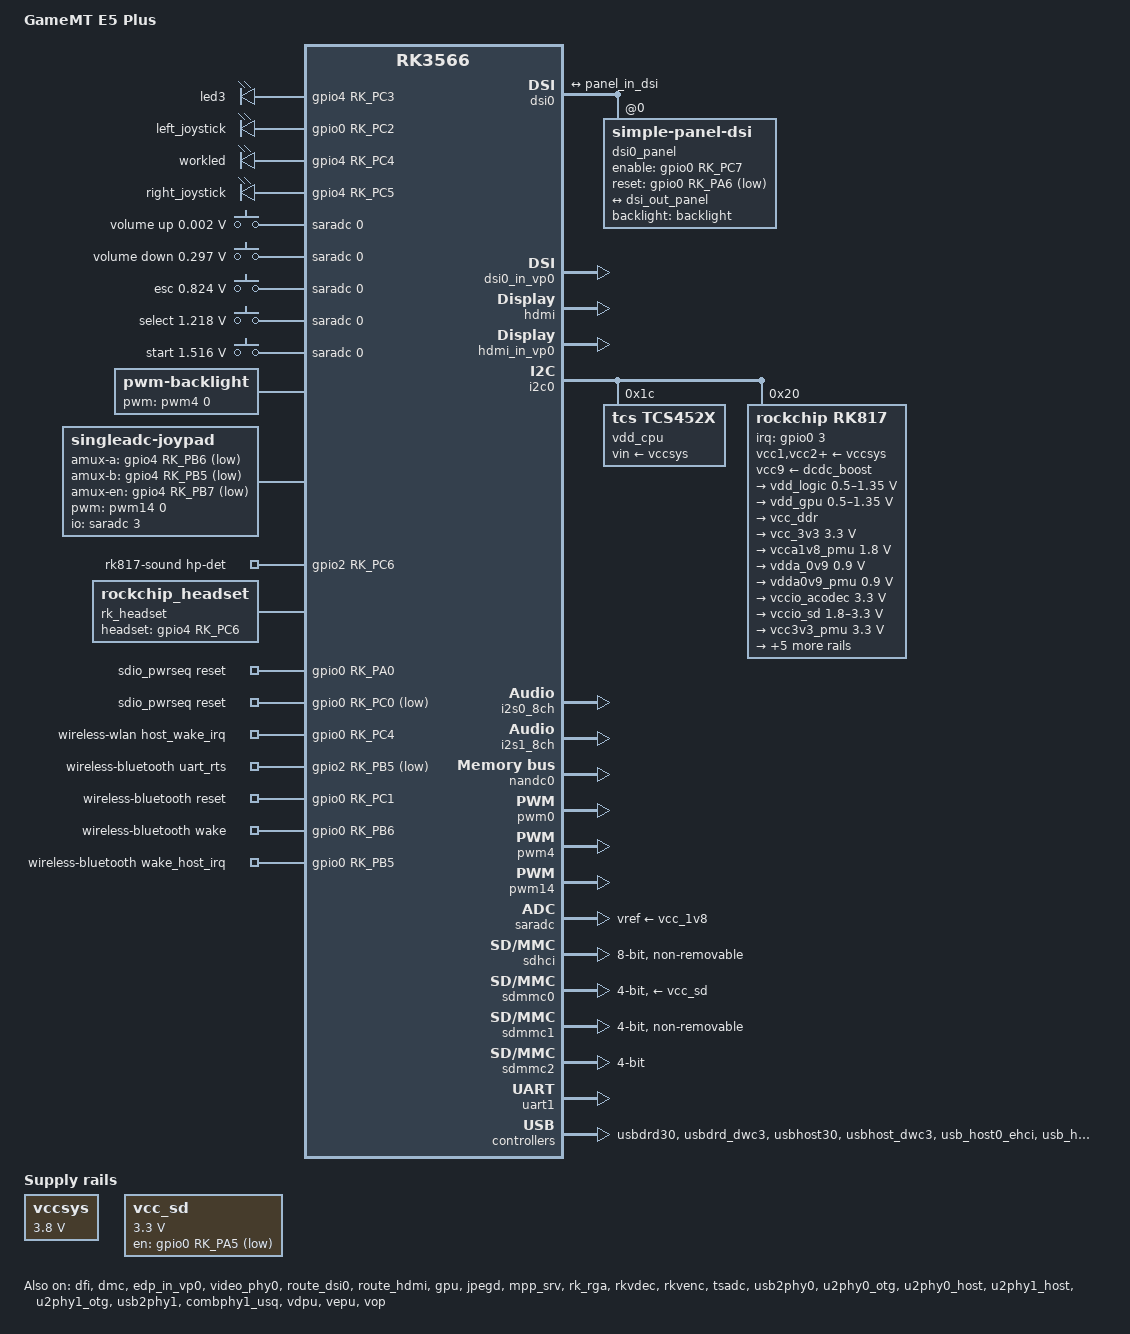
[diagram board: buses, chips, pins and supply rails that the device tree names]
// SPDX-License-Identifier: (GPL-2.0+ OR MIT)
/*
 * Copyright (c) 2020 Rockchip Electronics Co., Ltd.
 *
 */

/dts-v1/;

#include <dt-bindings/gpio/gpio.h>
#include <dt-bindings/pinctrl/rockchip.h>
#include <dt-bindings/input/rk-input.h>
#include <dt-bindings/sensor-dev.h>
#include <dt-bindings/display/drm_mipi_dsi.h>
#include <dt-bindings/display/rockchip_vop.h>
#include "rk3566.dtsi"
#include "rk3568-android.dtsi"
//#include "lcd/lcd_H546TAN01_720x1280_mipi_dsi0.dtsi"
//#include "lcd/lcd_axs1832_auo55_720x1280_mipi_dsi0.dtsi"
//#include "lcd/lcd_HX8394F_720x1280_mipi_dsi0.dtsi"
/ {
	model = "GameMT E5 Plus";
	compatible = "rockchip,rk3566-rk817-tablet", "rockchip,rk3566";

	leds: gpio-leds {
		compatible = "gpio-leds";
		pinctrl-names = "default";
		pinctrl-0 =<&leds_gpio>;

		led3 {
			gpios = <&gpio4 RK_PC3 GPIO_ACTIVE_HIGH>;
			default-state = "on";
		};
		left_joystick {
			gpios = <&gpio0 RK_PC2 GPIO_ACTIVE_HIGH>;
			default-state = "on";
		};		
		workled {
			gpios = <&gpio4 RK_PC4 GPIO_ACTIVE_HIGH>;
			default-state = "on";
		};
		right_joystick {
			gpios = <&gpio4 RK_PC5 GPIO_ACTIVE_HIGH>;
			default-state = "on";
		};
		/*motor {
			gpios = <&gpio3 RK_PC4 GPIO_ACTIVE_HIGH>;
			default-state = "off";
		};*/
	};

	adc_keys: adc-keys {
		compatible = "adc-keys";
		status = "okay";
		io-channels = <&saradc 0>;
		io-channel-names = "buttons";
		keyup-threshold-microvolt = <1800000>;
		poll-interval = <100>;

		vol-up-key {
			label = "volume up";
			linux,code = <KEY_VOLUMEUP>;
			press-threshold-microvolt = <1750>;
		};

		vol-down-key {
			label = "volume down";
			linux,code = <KEY_VOLUMEDOWN>;
			press-threshold-microvolt = <297500>;
		};

		esc-key {
			linux,code = <KEY_ESC>;
			label = "esc";
			press-threshold-microvolt = <824000>;
		};

		select-key {
			linux,code = <KEY_RIGHTSHIFT>;
			label = "select";
			press-threshold-microvolt = <1218000>;
		};

		start-key {
			linux,code = <KEY_ENTER>;
			label = "start";
			press-threshold-microvolt = <1516000>;
		};

	};

	backlight: backlight {
		compatible = "pwm-backlight";
		pwms = <&pwm4 0 25000 0>;
		brightness-levels = <
			  0  20  20  21  21  22  22  23
			 23  24  24  25  25  26  26  27
			 27  28  28  29  29  30  30  31
			 31  32  32  33  33  34  34  35
			 35  36  36  37  37  38  38  39
			 40  41  42  43  44  45  46  47
			 48  49  50  50  51  52  53  54
			 55  55  56  57  58  59  60  61
			 62  63  64  64  65  65  66  67
			 68  69  70  71  71  72  73  74
			 75  76  77  78  79  79  80  81
			 82  83  84  85  86  86  87  88
			 89  90  91  92  93  94  94  95
			 96  97  98  99 100 101 101 102
			103 104 105 106 107 107 108 109
			110 111 112 113 114 115 115 116
			117 118 119 120 121 122 123 123
			124 125 126 127 128 129 130 130
			131 132 133 134 135 136 136 137
			138 139 140 141 142 143 143 144
			145 146 147 147 148 149 150 151
			152 153 154 155 156 156 157 158
			159 157 158 159 160 161 162 162
			163 164 165 166 167 168 169 169
			170 171 172 173 174 175 175 176
			177 178 179 180 181 182 182 183
			184 185 186 187 188 189 190 190
			191 192 193 194 195 196 197 197
			198 199 200 201 202 203 204 204
			205 206 207 208 209 209 210 211
			212 213 213 214 214 215 215 216
			216 217 217 218 218 219 219 220
		>;
		default-brightness-level = <200>;
	};

	charge-animation {
		compatible = "rockchip,uboot-charge";
		rockchip,uboot-charge-on = <0>;
		rockchip,android-charge-on = <0>;
		rockchip,uboot-low-power-voltage = <3350>;
		rockchip,screen-on-voltage = <3400>;
		status = "okay";
	};

	joypad: singleadc-joypad {
		compatible = "singleadc-joypad";

		pwms = <&pwm14 0 200000000 0>;
		pwm-names = "enable";
		rumble-boost-weak = <0x0000>;
		rumble-boost-strong = <0x0000>;

		joypad-name = "retrogame_joypad";
		joypad-product = <0x1101>;
		joypad-revision = <0x0100>;

		status = "okay";

		/* gpio pincontrol setup */
		pinctrl-names = "default";
		pinctrl-0 = <&btn_pins>;
		pinctrl-1 = <&pwm14m0_pins>;

		/* Analog mux define */
		io-channel-names = "amux_adc";
		io-channels = <&saradc 3>;

		/* adc mux channel count */
		amux-count = <4>;
		/* adc mux select(a,b) gpio */
		amux-a-gpios = <&gpio4 RK_PB6 GPIO_ACTIVE_LOW>;
		amux-b-gpios = <&gpio4 RK_PB5 GPIO_ACTIVE_LOW>;
		/* adc mux enable gpio */
		amux-en-gpios = <&gpio4 RK_PB7 GPIO_ACTIVE_LOW>;

		/* adc calculate scale */
		button-adc-scale = <2>;

		/* adc deadzone range  */
		button-adc-deadzone = <64>;

		/*
		  specifies fuzz value that is used to filter noise from
		  the event stream.
		*/
		button-adc-fuzz = <32>;
		button-adc-flat = <32>;

		/*
		  Analog Stick data tuning value(precent)
		  p = positive direction, n = negative direction
		  report value = (real_adc_data * tuning_value) / 100
		*/
		abs_x-p-tuning = <400>;
		abs_x-n-tuning = <400>;

		abs_y-p-tuning = <400>;
		abs_y-n-tuning = <400>;

		abs_rx-p-tuning = <400>;
		abs_rx-n-tuning = <400>;

		abs_ry-p-tuning = <400>;
		abs_ry-n-tuning = <400>;

		/* poll device interval (ms), adc read interval */
		poll-interval = <10>;

		/* required for e5p */
		invert-absry;
		switch-rxy;

		/* gpio button auto repeat set value : default disable */
		/*
			autorepeat;
		*/
		sw1 {
			gpios = <&gpio4 RK_PB3 GPIO_ACTIVE_LOW>;
			label = "GPIO DPAD-UP"; //B
			linux,code = <BTN_DPAD_UP>;
		};
		sw2 {
			gpios = <&gpio4 RK_PB4 GPIO_ACTIVE_LOW>;
			label = "GPIO DPAD-DOWN";//dpad_right
			linux,code = <BTN_DPAD_DOWN>;
		};
		sw3 {
			gpios = <&gpio4 RK_PB1 GPIO_ACTIVE_LOW>;
			label = "GPIO DPAD-LEFT";//left_joystick
			linux,code = <BTN_DPAD_LEFT>;
		};
		sw4 {
			gpios = <&gpio4 RK_PB2 GPIO_ACTIVE_LOW>;
			label = "GPIO DPAD-RIGHT";//right_joystick
			linux,code = <BTN_DPAD_RIGHT>;
		};
		sw5 {
			gpios = <&gpio4 RK_PA7 GPIO_ACTIVE_LOW>;
			label = "GPIO BTN-A";//x
			linux,code = <BTN_SOUTH>;
		};
		sw6 {
			gpios = <&gpio4 RK_PA6 GPIO_ACTIVE_LOW>;
			label = "GPIO BTN-B";//A
			linux,code = <BTN_EAST>;
		};
		
		sw7 {
			gpios = <&gpio4 RK_PA5 GPIO_ACTIVE_LOW>;
			label = "GPIO BTN-X";//y
			linux,code = <BTN_NORTH>;
		};
		sw8 {
			gpios = <&gpio4 RK_PB0 GPIO_ACTIVE_LOW>;
			label = "GPIO BTN-Y";//dpad_left
			linux,code = <BTN_WEST>;
		};
		sw9 {
			gpios = <&gpio3 RK_PD5 GPIO_ACTIVE_LOW>;
			label = "GPIO BTN_SELECT";
			linux,code = <BTN_SELECT>;
		};
		sw10 {
			gpios = <&gpio3 RK_PD4 GPIO_ACTIVE_LOW>;
			label = "GPIO BTN_START";
			linux,code = <BTN_START>;
		};
		sw11 {
			gpios = <&gpio3 RK_PD3 GPIO_ACTIVE_LOW>;
			label = "GPIO BTN_F";
			linux,code = <BTN_MODE>;
		};
		sw12 {
			gpios = <&gpio4 RK_PA1 GPIO_ACTIVE_LOW>;
			label = "GPIO BTN_TL";//ok
			linux,code = <BTN_TL>;
		};
		sw13 {
			gpios = <&gpio4 RK_PA4 GPIO_ACTIVE_LOW>;
			label = "GPIO BTN_TR2"; //BTN_TL2
			linux,code = <BTN_TR2>;
		};
		sw14 {
			gpios = <&gpio4 RK_PA2 GPIO_ACTIVE_LOW>;
			label = "GPIO BTN_TL2";//BTN_TR
			linux,code = <BTN_TL2>;
		};
		sw15 {
			gpios = <&gpio4 RK_PA3 GPIO_ACTIVE_LOW>;
			label = "GPIO BTN_TR";//BTN_TR2
			linux,code = <BTN_TR>;
		};
		sw16 {
			gpios = <&gpio4 RK_PC0 GPIO_ACTIVE_LOW>;
			label = "GPIO BTN_THUMBL";//dpad_up
			linux,code = <BTN_THUMBL>;
		};
		sw17 {
			gpios = <&gpio4 RK_PC1 GPIO_ACTIVE_LOW>;
			label = "GPIO BTN_THUMBR";//dpad_down
			linux,code = <BTN_THUMBR>;
		};
	};

	flash_rgb13h: flash-rgb13h {
		status = "disabled";
		compatible = "led,rgb13h";
		label = "gpio-flash";
		pinctrl-names = "default";
		pinctrl-0 = <&flash_led_gpios>;
		led-max-microamp = <20000>;
		flash-max-microamp = <20000>;
		flash-max-timeout-us = <1000000>;
		enable-gpio = <&gpio4 6 GPIO_ACTIVE_HIGH>;
		rockchip,camera-module-index = <0>;
		rockchip,camera-module-facing = "back";
	};

	rk817-sound {
		compatible = "simple-audio-card";
		simple-audio-card,format = "i2s";
		simple-audio-card,name = "rockchip,rk817-codec";
		simple-audio-card,mclk-fs = <256>;
		simple-audio-card,widgets =
			"Microphone", "Mic Jack",
			"Headphone", "Headphones",
			"Speaker", "Speaker";
		simple-audio-card,routing =
			"MICL", "Mic Jack",
			"Headphones", "HPOL",
			"Headphones", "HPOR",
			"Speaker", "SPKO";
		simple-audio-card,hp-det-gpio = <&gpio2 RK_PC6 GPIO_ACTIVE_HIGH>;
		simple-audio-card,pin-switches = "Speaker","Headphones";

		simple-audio-card,cpu {
			sound-dai = <&i2s1_8ch>;
		};
		simple-audio-card,codec {
			sound-dai = <&rk817_codec>;
		};
	};

	hdmi_sound: hdmi-sound {
		compatible = "simple-audio-card";
		simple-audio-card,format = "i2s";
		simple-audio-card,mclk-fs = <128>;
		simple-audio-card,name = "rockchip,hdmi";
		status = "disabled";

		simple-audio-card,cpu {
				sound-dai = <&i2s0_8ch>;
		};
		simple-audio-card,codec {
				sound-dai = <&hdmi>;
		};
	};

	vccsys: vccsys {
		compatible = "regulator-fixed";
		regulator-name = "vcc3v8_sys";
		regulator-always-on;
		regulator-boot-on;
		regulator-min-microvolt = <3800000>;
		regulator-max-microvolt = <3800000>;
	};
/*
	vcc_camera: vcc-camera-regulator {
		compatible = "regulator-fixed";
		gpio = <&gpio4 RK_PB1 GPIO_ACTIVE_HIGH>;
		pinctrl-names = "default";
		pinctrl-0 = <&camera_rst>;
		regulator-name = "vcc_camera";
		enable-active-high;
		regulator-always-on;
		regulator-boot-on;
	};
*/

	rk_headset: rk-headset {
		status = "okay";
		compatible = "rockchip_headset";
		headset_gpio = <&gpio4 RK_PC6 GPIO_ACTIVE_HIGH>;
		pinctrl-names = "default";
		pinctrl-0 = <&hp_det>;
	//	io-channels = <&saradc 2>;
	};

	sdio_pwrseq: sdio-pwrseq {
		compatible = "mmc-pwrseq-simple";
	//	clocks = <&rk817 1>;
	//	clock-names = "ext_clock";
		pinctrl-names = "default";
		pinctrl-0 = <&wifi_enable_h>;

		/*
		 * On the module itself this is one of these (depending
		 * on the actual card populated):
		 * - SDIO_RESET_L_WL_REG_ON
		 * - PDN (power down when low)
		 */
		post-power-on-delay-ms = <200>;
		reset-gpios = <&gpio0 RK_PA0 GPIO_ACTIVE_HIGH>,<&gpio0 RK_PC0 GPIO_ACTIVE_LOW>;
	};

	vcc_sd: vcc-sd {
		compatible = "regulator-gpio";
		enable-active-low;
		enable-gpio = <&gpio0 RK_PA5 GPIO_ACTIVE_LOW>;
		regulator-min-microvolt = <3300000>;
		regulator-max-microvolt = <3300000>;
		pinctrl-names = "default";
		pinctrl-0 = <&vcc_sd_h>;
		regulator-name = "vcc_sd";
		states = <3300000 0x0
			3300000 0x1>;
	};

	

	wireless-wlan {
		compatible = "wlan-platdata";
		rockchip,grf = <&grf>;
		wifi_chip_type = "rtl8821cs";
		pinctrl-names = "default";
		pinctrl-0 = <&wifi_host_wake_irq>;
		WIFI,host_wake_irq = <&gpio0 RK_PC4 GPIO_ACTIVE_HIGH>;
		status = "okay";
	};

	wireless-bluetooth {
		compatible = "bluetooth-platdata";
		//clocks = <&rk817 1>;
		//clock-names = "ext_clock";
		//wifi-bt-power-toggle;
		uart_rts_gpios = <&gpio2 RK_PB5 GPIO_ACTIVE_LOW>;
		pinctrl-names = "default", "rts_gpio";
		pinctrl-0 = <&uart1m0_rtsn>;
		pinctrl-1 = <&uart1_gpios>;
		BT,reset_gpio    = <&gpio0 RK_PC1 GPIO_ACTIVE_HIGH>;
		BT,wake_gpio     = <&gpio0 RK_PB6 GPIO_ACTIVE_HIGH>;
		BT,wake_host_irq = <&gpio0 RK_PB5 GPIO_ACTIVE_HIGH>;
		status = "okay";
	};
};

&cpu0 {
	cpu-supply = <&vdd_cpu>;
};

&csi2_dphy_hw {
	status = "disabled";
};

&csi2_dphy0 {
	status = "disabled";
};

&vp0 {
  rockchip,plane-mask = <( 1<< ROCKCHIP_VOP2_ESMART0 | 1 << ROCKCHIP_VOP2_SMART0)>;
  rockchip,primary-plane = <ROCKCHIP_VOP2_SMART0>;
};

/*
&vp1 {
	 cursor-win-id = <ROCKCHIP_VOP2_CLUSTER1>;
     rockchip,plane-mask = <( 1 << ROCKCHIP_VOP2_CLUSTER1 | 1<< ROCKCHIP_VOP2_ESMART1 | 1 <<  ROCKCHIP_VOP2_SMART1)>;
     rockchip,primary-plane = <ROCKCHIP_VOP2_SMART1>;
};
*/

&dfi {
	status = "okay";
};

&dmc {
	center-supply = <&vdd_logic>;
	status = "okay";
};


&edp_phy{
	status = "disabled";
};

&edp {
	status = "disabled";
};

&edp_in_vp0 {
	status = "okay";
};

&edp_in_vp1 {
	status = "disabled";
};

&dsi0 {
	status = "okay";
	//	rockchip,dual-channel = <&dsi1>;
	
	//rockchip,lane-rate = <1000>;
 	dsi0_panel: panel@0 {
		compatible ="simple-panel-dsi";
		reg = <0>;
		prepare-delay-ms = <120>;
		reset-delay-ms = <200>;
		init-delay-ms = <20>;
		stbyb-delay-ms = <120>;
		enable-delay-ms = <20>;
		disable-delay-ms = <20>;
		unprepare-delay-ms = <120>;

		width-mm = <72>;
		height-mm = <128>;
		
		backlight = <&backlight>;
	//	power_vsx-gpios = <&gpio0 RK_PB7 GPIO_ACTIVE_HIGH>;
		enable-gpios = <&gpio0 RK_PC7 GPIO_ACTIVE_HIGH>;
		reset-gpios = <&gpio0 RK_PA6 GPIO_ACTIVE_LOW>;

		rotation = <270>;

		dsi,flags = <(MIPI_DSI_MODE_VIDEO | MIPI_DSI_MODE_VIDEO_BURST |
			MIPI_DSI_MODE_LPM | MIPI_DSI_MODE_EOT_PACKET)>;
		dsi,format = <MIPI_DSI_FMT_RGB888>;
		dsi,lanes  = <4>;
		panel-init-sequence = [
15 00 02 00 00 
39 00 04 FF 12 84 01 
15 00 02 00 80 
39 00 03 FF 12 84 
15 00 02 00 92 
39 00 03 FF 30 02 
15 00 02 00 80 
39 00 0A C0 00 64 00 0E 12 00 64 0E 12 
15 00 02 00 81 
15 00 02 C1 55 
15 00 02 00 A0 
15 00 02 C1 02 
15 00 02 00 C6 
15 00 02 B0 03 
15 00 02 00 C2 
15 00 02 F5 40 
15 00 02 00 C3 
15 00 02 F5 85 
15 00 02 00 A0 
39 00 0F C4 05 10 06 02 05 15 10 05 10 07 02 05 15 10 
15 00 02 00 00
39 00 15 E1 01 04 09 08 15 20 20 54 54 77 84 5F 64 24 1D 0D 06 02 01 00
15 00 02 00 00
39 00 15 E2 01 04 09 08 15 20 20 54 54 77 84 5F 64 24 1D 0D 06 02 01 00
15 00 02 00 B0 
39 00 03 C4 00 00 
15 00 02 00 BB 
15 00 02 C5 8A 
15 00 02 00 91 
39 00 03 C5 16 52 
15 00 02 00 00 
39 00 03 D8 8D 8D 
15 00 02 00 00 
15 00 02 D9 68 
15 00 02 00 B3 
15 00 02 C5 84 
15 00 02 00 90 
39 00 05 F5 02 11 02 15 
15 00 02 00 90 
15 00 02 C5 50 
15 00 02 00 94 
15 00 02 C5 66 
15 00 02 00 B2 
39 00 03 F5 00 00 
15 00 02 00 B4 
39 00 03 F5 00 00 
15 00 02 00 B6 
39 00 03 F5 00 00 
15 00 02 00 B8 
39 00 03 F5 00 00 
15 00 02 00 94 
39 00 03 F5 00 00 
15 00 02 00 D2 
39 00 03 F5 06 15 
15 00 02 00 B4 
15 00 02 C5 CC 
15 00 02 00 80 
39 00 0C CB 00 00 00 00 00 00 00 00 00 00 00 
15 00 02 00 90 
39 00 10 CB 00 00 00 00 00 00 00 00 00 00 00 00 00 00 00 
15 00 02 00 A0 
39 00 10 CB 00 00 00 00 00 00 00 00 00 00 00 00 00 00 00 
15 00 02 00 B0 
39 00 10 CB 00 00 00 00 00 00 00 00 00 00 00 00 00 00 00 
15 00 02 00 C0 
39 00 10 CB 05 05 05 05 05 05 00 00 00 00 00 00 00 00 00 
15 00 02 00 D0 
39 00 10 CB 00 00 00 00 05 05 05 05 05 05 05 05 05 00 00 
15 00 02 00 E0 
39 00 0F CB 00 00 00 00 00 00 00 00 00 00 00 05 05 05 
15 00 02 00 F0 
39 00 0C CB FF FF FF FF FF FF FF FC FF FF FF 
15 00 02 00 80 
39 00 10 CC 0C 0A 10 0E 02 04 00 00 00 00 00 00 00 00 00 
15 00 02 00 90 
39 00 10 CC 00 00 00 00 06 2E 2D 0B 09 0F 0D 01 03 00 00 
15 00 02 00 A0 
39 00 0F CC 00 00 00 00 00 00 00 00 00 00 00 05 2E 2D 
15 00 02 00 B0 
39 00 10 CC 0D 0F 09 0B 03 01 00 00 00 00 00 00 00 00 00 
15 00 02 00 C0 
39 00 10 CC 00 00 00 00 06 2D 2E 0E 10 0A 0C 04 02 00 00 
15 00 02 00 D0 
39 00 0F CC 00 00 00 00 00 00 00 00 00 00 00 05 2D 2E 
15 00 02 00 80 
39 00 0D CE 8B 03 18 8A 03 18 89 03 18 88 03 18 
15 00 02 00 90 
39 00 0F CE 38 0F 18 38 0E 18 00 00 00 00 00 00 00 00 
15 00 02 00 A0 
39 00 0F CE 38 07 05 00 00 18 00 38 06 05 01 00 18 00 
15 00 02 00 B0 
39 00 0F CE 38 05 05 02 00 18 00 38 04 05 03 00 18 00 
15 00 02 00 C0 
39 00 0F CE 38 03 05 04 00 18 00 38 02 05 05 00 18 00 
15 00 02 00 D0 
39 00 0F CE 38 01 05 06 00 18 00 38 00 05 07 00 18 00 
15 00 02 00 80 
39 00 0F CF 00 00 00 00 00 00 00 00 00 00 00 00 00 00 
15 00 02 00 90 
39 00 0F CF 00 00 00 00 00 00 00 00 00 00 00 00 00 00 
15 00 02 00 A0 
39 00 0F CF 00 00 00 00 00 00 00 00 00 00 00 00 00 00 
15 00 02 00 B0 
39 00 0F CF 00 00 00 00 00 00 00 00 00 00 00 00 00 00 
15 00 02 00 C0 
39 00 0C CF 01 01 20 20 00 00 02 81 00 03 08 
15 00 02 00 B5 
39 00 07 C5 38 11 7F 38 11 7F 
15 00 02 00 00 
39 00 04 FF FF FF FF 
05 78 01 11
05 14 01 29
		];

		panel-exit-sequence = [
			05 10 01 28
			05 20 01 10
		];

		disp_timings0: display-timings {
			native-mode = <&dsi0_timing0>;
			dsi0_timing0: timing0 {
				clock-frequency = <65000000>;
				hactive = <720>;
				vactive = <1280>;
				hfront-porch = <30>;
				hsync-len = <20>;
				hback-porch = <35>;
				vfront-porch = <17>;
				vsync-len = <4>;
				vback-porch = <31>;
				hsync-active = <0>;
				vsync-active = <0>;
				de-active = <0>;
				pixelclk-active = <0>;
				};
			};

		ports {
			#address-cells = <1>;
			#size-cells = <0>;

			port@0 {
				reg = <0>;
				panel_in_dsi: endpoint {
					remote-endpoint = <&dsi_out_panel>;
				};
			};
		};
	};

	ports {
		#address-cells = <1>;
		#size-cells = <0>;

		port@1 {
			reg = <1>;
			dsi_out_panel: endpoint {
				remote-endpoint = <&panel_in_dsi>;
			};
		};
	};

};

&dsi0_in_vp0 {
	status = "okay";
};

&dsi0_in_vp1 {
	status = "disabled";
};

&dsi1 {
	status = "disabled";
};

&dsi1_in_vp0 {
	status = "disabled";
};

&dsi1_in_vp1 {
	status = "disabled";
};

&video_phy0 {
	status = "okay";
};

&video_phy1 {
	status = "disabled";
};

&hdmi {
	status = "okay";
};

&hdmi_in_vp0 {
	status = "okay";
};

&hdmi_in_vp1 {
	status = "disabled";
};

&hdmi_sound {
	status = "okay";
};

&route_dsi0 {
	status = "okay";
	connect = <&vp0_out_dsi0>;
};

&route_hdmi {
	status = "okay";
	connect = <&vp0_out_hdmi>;
};

&route_edp {
	status = "disabled";
	connect = <&vp0_out_edp>;
};

&gpu {
	mali-supply = <&vdd_gpu>;
	status = "okay";
};

&i2c0 {
	status = "okay";

	vdd_cpu: tcs4525@1c {
		compatible = "tcs,tcs452x";
		reg = <0x1c>;
		vin-supply = <&vccsys>;
		regulator-compatible = "fan53555-reg";
		regulator-name = "vdd_cpu";
		regulator-min-microvolt = <712500>;
		regulator-max-microvolt = <1390000>;
		regulator-init-microvolt = <900000>;
		regulator-ramp-delay = <2300>;
		fcs,suspend-voltage-selector = <1>;
		regulator-boot-on;
		regulator-always-on;
		regulator-state-mem {
			regulator-off-in-suspend;
		};
	};

	rk817: pmic@20 {
		compatible = "rockchip,rk817";
		reg = <0x20>;
		interrupt-parent = <&gpio0>;
		interrupts = <3 IRQ_TYPE_LEVEL_LOW>;

		pinctrl-names = "default", "pmic-sleep",
				"pmic-power-off", "pmic-reset";
		pinctrl-0 = <&pmic_int>;
		pinctrl-1 = <&soc_slppin_slp>, <&rk817_slppin_slp>;
		pinctrl-2 = <&soc_slppin_gpio>, <&rk817_slppin_pwrdn>;
		pinctrl-3 = <&soc_slppin_gpio>, <&rk817_slppin_rst>;
		rockchip,system-power-controller;
		wakeup-source;
		#clock-cells = <1>;
		clock-output-names = "rk808-clkout1", "rk808-clkout2";
		//fb-inner-reg-idxs = <2>;
		/* 1: rst regs (default in codes), 0: rst the pmic */
		pmic-reset-func = <0>;
		/* not save the PMIC_POWER_EN register in uboot */
		not-save-power-en = <1>;

		vcc1-supply = <&vccsys>;
		vcc2-supply = <&vccsys>;
		vcc3-supply = <&vccsys>;
		vcc4-supply = <&vccsys>;
		vcc5-supply = <&vccsys>;
		vcc6-supply = <&vccsys>;
		vcc7-supply = <&vccsys>;
		vcc8-supply = <&vccsys>;
		vcc9-supply = <&dcdc_boost>;

		pwrkey {
			status = "okay";
		};

		pinctrl_rk8xx: pinctrl_rk8xx {
			gpio-controller;
			#gpio-cells = <2>;

			rk817_slppin_null: rk817_slppin_null {
				pins = "gpio_slp";
				function = "pin_fun0";
			};

			rk817_slppin_slp: rk817_slppin_slp {
				pins = "gpio_slp";
				function = "pin_fun1";
			};

			rk817_slppin_pwrdn: rk817_slppin_pwrdn {
				pins = "gpio_slp";
				function = "pin_fun2";
			};

			rk817_slppin_rst: rk817_slppin_rst {
				pins = "gpio_slp";
				function = "pin_fun3";
			};
		};

		regulators {
			vdd_logic: DCDC_REG1 {
				regulator-always-on;
				regulator-boot-on;
				regulator-min-microvolt = <500000>;
				regulator-max-microvolt = <1350000>;
				regulator-init-microvolt = <900000>;
				regulator-ramp-delay = <6001>;
				regulator-initial-mode = <0x2>;
				regulator-name = "vdd_logic";
				regulator-state-mem {
					regulator-on-in-suspend;
					regulator-suspend-microvolt = <900000>;
				};
			};

			vdd_gpu: DCDC_REG2 {
				regulator-always-on;
				regulator-boot-on;
				regulator-min-microvolt = <500000>;
				regulator-max-microvolt = <1350000>;
				regulator-init-microvolt = <900000>;
				regulator-ramp-delay = <6001>;
				regulator-initial-mode = <0x2>;
				regulator-name = "vdd_gpu";
				regulator-state-mem {
					regulator-off-in-suspend;
				};
			};

			vcc_ddr: DCDC_REG3 {
				regulator-always-on;
				regulator-boot-on;
				regulator-initial-mode = <0x2>;
				regulator-name = "vcc_ddr";
				regulator-state-mem {
					regulator-on-in-suspend;
				};
			};

			vcc_3v3: DCDC_REG4 {
				regulator-always-on;
				regulator-boot-on;
				regulator-min-microvolt = <3300000>;
				regulator-max-microvolt = <3300000>;
				regulator-initial-mode = <0x2>;
				regulator-name = "vcc_3v3";
				regulator-state-mem {
					regulator-on-in-suspend;
					//regulator-off-in-suspend;
				};
			};

			vcca1v8_pmu: LDO_REG1 {
				regulator-always-on;
				regulator-boot-on;
				regulator-min-microvolt = <1800000>;
				regulator-max-microvolt = <1800000>;
				regulator-name = "vcca1v8_pmu";
				regulator-state-mem {
					regulator-on-in-suspend;
					regulator-suspend-microvolt = <1800000>;
				};
			};

			vdda_0v9: LDO_REG2 {
				regulator-always-on;
				regulator-boot-on;
				regulator-min-microvolt = <900000>;
				regulator-max-microvolt = <900000>;
				regulator-name = "vdda_0v9";
				regulator-state-mem {
					regulator-off-in-suspend;
				};
			};

			vdda0v9_pmu: LDO_REG3 {
				regulator-always-on;
				regulator-boot-on;
				regulator-min-microvolt = <900000>;
				regulator-max-microvolt = <900000>;
				regulator-name = "vdda0v9_pmu";
				regulator-state-mem {
					regulator-on-in-suspend;
					regulator-suspend-microvolt = <900000>;
				};
			};

			vccio_acodec: LDO_REG4 {
				regulator-always-on;
				regulator-boot-on;
				regulator-min-microvolt = <3300000>;
				regulator-max-microvolt = <3300000>;
				regulator-name = "vccio_acodec";
				regulator-state-mem {
					regulator-off-in-suspend;
				};
			};

			vccio_sd: LDO_REG5 {
				regulator-always-on;
				regulator-boot-on;
				regulator-min-microvolt = <1800000>;
				regulator-max-microvolt = <3300000>;
				regulator-name = "vccio_sd";
				regulator-state-mem {
					regulator-off-in-suspend;
				};
			};

			vcc3v3_pmu: LDO_REG6 {
				regulator-always-on;
				regulator-boot-on;
				regulator-min-microvolt = <3300000>;
				regulator-max-microvolt = <3300000>;
				regulator-name = "vcc3v3_pmu";
				regulator-state-mem {
					regulator-on-in-suspend;
					regulator-suspend-microvolt = <3000000>;
				};
			};

			vcc_1v8: LDO_REG7 {
				regulator-always-on;
				regulator-boot-on;
				regulator-min-microvolt = <1800000>;
				regulator-max-microvolt = <1800000>;
				regulator-name = "vcc_1v8";
				regulator-state-mem {
					regulator-off-in-suspend;
				};
			};

			vcc1v8_dvp: LDO_REG8 {
				regulator-always-on;
				regulator-boot-on;
				regulator-min-microvolt = <1800000>;
				regulator-max-microvolt = <1800000>;
				regulator-name = "vcc1v8_dvp";
				regulator-state-mem {
					regulator-on-in-suspend;
				};
			};

			vcc2v8_dvp: LDO_REG9 {
				regulator-always-on;
				regulator-boot-on;
				regulator-min-microvolt = <1800000>;
				regulator-max-microvolt = <3300000>;
				regulator-name = "vcc2v8_dvp";
				regulator-state-mem {
					regulator-off-in-suspend;
				};
			};

			dcdc_boost: BOOST {
				regulator-always-on;
				regulator-boot-on;
				regulator-min-microvolt = <4700000>;
				regulator-max-microvolt = <5400000>;
				regulator-name = "boost";
				regulator-state-mem {
					regulator-off-in-suspend;
				};
			};

			otg_switch: OTG_SWITCH {
				regulator-name = "otg_switch";
				regulator-state-mem {
					regulator-off-in-suspend;
				};
			};
		};

		battery {
			compatible = "rk817,battery";
			ocv_table = <3400 3460 3504 3546 3579 3607 3627
				     3647 3670 3701 3745 3804 3850 3882 
				     3907 3959 4005 4024 4050 4106 4187>;
			design_capacity = <5120>;
			design_qmax = <5500>;
			bat_res = <67>;
			sleep_enter_current = <150>;
			sleep_exit_current = <180>;
			sleep_filter_current = <100>;
			power_off_thresd = <3400>;
			zero_algorithm_vol = <3850>;
			max_soc_offset = <60>;
			monitor_sec = <5>;
			sample_res = <10>;
			virtual_power = <0>;
		/*	dc_det_gpio = <&gpio4 RK_PC4 GPIO_ACTIVE_HIGH>;//uboot使用
			charge_red_gpio = <&gpio3 RK_PC1 GPIO_ACTIVE_HIGH>;
			charge_green_gpio = <&gpio3 RK_PC2 GPIO_ACTIVE_HIGH>;
			charge_yellow_gpio = <&gpio3 RK_PC3 GPIO_ACTIVE_HIGH>;*/
		};

		charger {
			compatible = "rk817,charger";
			dc_det_gpio = <&gpio3 RK_PB5 GPIO_ACTIVE_LOW>;
			pinctrl-names = "default";
			pinctrl-0 = <&ip2315_det_pin>;
			min_input_voltage = <4500>;
			max_input_current = <2000>;
			max_chrg_current = <2000>;
			max_chrg_voltage = <4300>;
			chrg_term_mode = <0>;
			chrg_finish_cur = <300>;
			virtual_power = <0>;
			dc_det_adc = <0>;
			extcon = <&usb2phy0>;
			gate_function_disable = <1>;
		};

		rk817_codec: codec {
			#sound-dai-cells = <0>;
			compatible = "rockchip,rk817-codec";
			clocks = <&cru I2S1_MCLKOUT>;
			clock-names = "mclk";
			assigned-clocks = <&cru I2S1_MCLKOUT>, <&cru I2S1_MCLK_TX_IOE>;
			assigned-clock-rates = <12288000>;
			assigned-clock-parents = <&cru I2S1_MCLKOUT_TX>, <&cru I2S1_MCLKOUT_TX>;
			pinctrl-names = "default";
			pinctrl-0 = <&i2s1m0_mclk>;
			hp-volume = <3>;
			spk-volume = <3>;
			out-l2spk-r2hp;
			//use-ext-amplifier;
			spk-ctl-gpios = <&gpio4 RK_PC2 GPIO_ACTIVE_HIGH>;
			status = "okay";
		};
	};
};

&i2c2 {
	status = "disabled";
	pinctrl-0 = <&i2c2m1_xfer>;
};

&i2c3 {
	status = "disabled";
	pinctrl-names = "default";
	pinctrl-0 = <&i2c3m1_xfer>;
	clock-frequency = <400000>;
	i2c-scl-rising-time-ns = <138>;
	i2c-scl-falling-time-ns = <4>;
};

&i2c5 {
	status = "disabled";
	clock-frequency = <400000>;
	i2c-scl-rising-time-ns = <144>;
	i2c-scl-falling-time-ns = <4>;

};

&i2s0_8ch {
	status = "okay";
};

&i2s1_8ch {
	status = "okay";
	rockchip,clk-trcm = <1>;
	pinctrl-names = "default";
	pinctrl-0 = <&i2s1m0_sclktx
		     &i2s1m0_lrcktx
		     &i2s1m0_sdi0
		     &i2s1m0_sdo0>;
};

&jpegd {
	status = "okay";
};

&jpegd_mmu {
	status = "okay";
};

&video_phy0 {
	status = "okay";
};

&mpp_srv {
	status = "okay";
};

&nandc0 {
	status = "okay";
};

&pinctrl {
	cam {
		cam_clkout0: cam-clkout0 {
			rockchip,pins =
				/* cam_clkout0 */
				<4 RK_PA7 1 &pcfg_pull_none>;
		};

		cam_sleep: cam-sleep {
			rockchip,pins =
				/* cam_sleep */
				<4 RK_PA7 RK_FUNC_GPIO &pcfg_pull_none>;
		};

		camera_rst: camera-rst {
			rockchip,pins =
				/* front camera reset */
				<4 RK_PB0 RK_FUNC_GPIO &pcfg_pull_none>,
				/* back camra reset */
				<4 RK_PB1 RK_FUNC_GPIO &pcfg_pull_none>;
		};

		flash_led_gpios: flash-led {
			rockchip,pins =
				/* flash led enable */
				<4 RK_PA6 RK_FUNC_GPIO &pcfg_pull_none>;
		};
	};

	tp {
		tp_gpio: tp-gpio {
			rockchip,pins = <3 RK_PB0 RK_FUNC_GPIO &pcfg_pull_up>,
					<3 RK_PB1 RK_FUNC_GPIO &pcfg_pull_none>;
		};
	};

	headphone {
		hp_det: hp-det {
			rockchip,pins = <4 RK_PC6 RK_FUNC_GPIO &pcfg_pull_up>;
		};
	};
	charger {
		ip2315_det_pin: ip2315_det-pin {
			rockchip,pins = <3 RK_PB5 RK_FUNC_GPIO &pcfg_pull_up>;
		};
	};		
	lcd {
		lcd_rst_gpio: lcd-rst-gpio {
			rockchip,pins = <0 RK_PC2 RK_FUNC_GPIO &pcfg_pull_none>;
		};

		lcd_enable_gpio: lcd-enable-gpio {
			rockchip,pins = <0 RK_PC7 RK_FUNC_GPIO &pcfg_pull_none>;
		};

		lcd_stanby_gpio: lcd-stanby-gpio {
			rockchip,pins = <0 RK_PC0 RK_FUNC_GPIO &pcfg_pull_down>;
		};
	};

	pmic {
		pmic_int: pmic_int {
			rockchip,pins =
				<0 RK_PA3 RK_FUNC_GPIO &pcfg_pull_up>;
		};

		soc_slppin_gpio: soc_slppin_gpio {
			rockchip,pins =
				<0 RK_PA2 RK_FUNC_GPIO &pcfg_output_low_pull_down>;
		};

		soc_slppin_slp: soc_slppin_slp {
			rockchip,pins =
				<0 RK_PA2 1 &pcfg_pull_up>;
		};

		soc_slppin_rst: soc_slppin_rst {
			rockchip,pins =
				<0 RK_PA2 2 &pcfg_pull_none>;
		};
	};

	sensor {
		sensor_gpio: sensor-gpio {
			rockchip,pins = <3 RK_PA2 RK_FUNC_GPIO &pcfg_pull_none>;
		};
	};

	sdio-pwrseq {
		wifi_enable_h: wifi-enable-h {
			rockchip,pins = <0 RK_PA0 RK_FUNC_GPIO &pcfg_pull_none>,
			 		<0 RK_PC0 RK_FUNC_GPIO &pcfg_pull_none>;
		};
	};

	vcc_sd {
		vcc_sd_h: vcc-sd-h {
			rockchip,pins = <0 RK_PA5 RK_FUNC_GPIO &pcfg_pull_none>;
		};
	};

	wireless-wlan {
		wifi_host_wake_irq: wifi-host-wake-irq {
			rockchip,pins = <0 RK_PC4 RK_FUNC_GPIO &pcfg_pull_down>;
		};
	};

	wireless-bluetooth {
		uart1_gpios: uart1-gpios {
			rockchip,pins = <2 RK_PB5 RK_FUNC_GPIO &pcfg_pull_none>;
		};
	};

	gpio-leds {
		leds_gpio: leds-gpio {
			rockchip,pins =
				<0 RK_PC2 RK_FUNC_GPIO &pcfg_pull_none>,
				<4 RK_PC3 RK_FUNC_GPIO &pcfg_pull_none>,
				<4 RK_PC4 RK_FUNC_GPIO &pcfg_pull_none>,
				<4 RK_PC5 RK_FUNC_GPIO &pcfg_pull_none>;
		};
	};

	led {
		charge_led_gpio:charge-led-gpio{
                 rockchip,pins = <3 RK_PC1 RK_FUNC_GPIO &pcfg_pull_none>,
                 		 <3 RK_PC2 RK_FUNC_GPIO &pcfg_pull_none>,
                                 <3 RK_PC3 RK_FUNC_GPIO &pcfg_pull_none>;
		};
	
	};
	btns {
		btn_pins: btn-pins {
			rockchip,pins = 
					<4 RK_PA7 RK_FUNC_GPIO &pcfg_pull_up>,
					<4 RK_PB2 RK_FUNC_GPIO &pcfg_pull_up>,
					<4 RK_PC0 RK_FUNC_GPIO &pcfg_pull_up>,
					<4 RK_PC1 RK_FUNC_GPIO &pcfg_pull_up>,
					<4 RK_PA5 RK_FUNC_GPIO &pcfg_pull_up>,
					<4 RK_PB0 RK_FUNC_GPIO &pcfg_pull_up>,
					<4 RK_PB1 RK_FUNC_GPIO &pcfg_pull_up>,
					<4 RK_PA1 RK_FUNC_GPIO &pcfg_pull_up>,
					<4 RK_PA2 RK_FUNC_GPIO &pcfg_pull_up>,
					<4 RK_PA3 RK_FUNC_GPIO &pcfg_pull_up>,
					<4 RK_PA4 RK_FUNC_GPIO &pcfg_pull_up>,
					<4 RK_PB3 RK_FUNC_GPIO &pcfg_pull_up>,
					<4 RK_PB4 RK_FUNC_GPIO &pcfg_pull_up>,
					<4 RK_PA6 RK_FUNC_GPIO &pcfg_pull_up>,
					<3 RK_PD3 RK_FUNC_GPIO &pcfg_pull_up>,
					<3 RK_PD4 RK_FUNC_GPIO &pcfg_pull_up>,
					<3 RK_PD5 RK_FUNC_GPIO &pcfg_pull_up>;
		};
	};
};

&pmu_io_domains {
	status = "okay";
	pmuio1-supply = <&vcc3v3_pmu>;
	pmuio2-supply = <&vcc3v3_pmu>;
	vccio1-supply = <&vccio_acodec>;
	vccio3-supply = <&vccio_sd>;
	vccio4-supply = <&vcc_3v3>;
	vccio5-supply = <&vcc_3v3>;
	vccio6-supply = <&vcc1v8_dvp>;
	vccio7-supply = <&vcc_3v3>;
};

&pwm0 {
	status = "okay";
	label = "rumble-pwm";
};

&pwm4 {
	status = "okay";
};

&pwm14 {
	pinctrl-0 = <&pwm14m0_pins>;
	status = "okay";
};

&rk_rga {
	status = "okay";
};

&rkisp {
	status = "disabled";
};

&rkisp_mmu {
	status = "disabled";
};

&rkisp_vir0 {
	status = "disabled";
};

&rkvdec {
	status = "okay";
};

&rkvdec_mmu {
	status = "okay";
};

&rkvenc {
	status = "okay";
};

&rkvenc_mmu {
	status = "okay";
};

&route_dsi0 {
	status = "okay";
};

&route_hdmi {
	status = "okay";
	connect = <&vp0_out_hdmi>;
};

&saradc {
	status = "okay";
	vref-supply = <&vcc_1v8>;
};

&sdhci {
	bus-width = <8>;
	supports-emmc;
	non-removable;
	max-frequency = <200000000>;
	status = "okay";
};

&sdmmc0 {
	max-frequency = <150000000>;
	supports-sd;
	bus-width = <4>;
	cap-mmc-highspeed;
	cap-sd-highspeed;
	disable-wp;
	sd-uhs-sdr104;
	vmmc-supply = <&vcc_sd>;
	vqmmc-supply = <&vccio_sd>;
	pinctrl-names = "default";
	pinctrl-0 = <&sdmmc0_bus4 &sdmmc0_clk &sdmmc0_cmd &sdmmc0_det>;
	status = "okay";
};

&sdmmc1 {
	max-frequency = <150000000>;
	supports-sdio;
	bus-width = <4>;
	disable-wp;
	cap-sd-highspeed;
	cap-sdio-irq;
	keep-power-in-suspend;
	mmc-pwrseq = <&sdio_pwrseq>;
	non-removable;
	pinctrl-names = "default";
	pinctrl-0 = <&sdmmc1_bus4 &sdmmc1_cmd &sdmmc1_clk>;
	sd-uhs-sdr104;
	rockchip,default-sample-phase = <90>;
	status = "okay";
};

&sdmmc2 {
    max-frequency = <50000000>;
    supports-sd;
    bus-width = <4>;
    cap-mmc-highspeed;
    cap-sd-highspeed;
    disable-wp;
//    sd-uhs-sdr104;
//    vmmc-supply = <&vcc_sd>;
//    vqmmc-supply = <&vccio_sd>;
    pinctrl-names = "default";
    pinctrl-0 = <&sdmmc2m1_bus4 &sdmmc2m1_clk &sdmmc2m1_cmd &sdmmc2m1_det>;
//    sd-uhs-sdr104;
    status = "okay";
};

&tsadc {
	status = "okay";
};

&uart1 {
	status = "okay";
	pinctrl-names = "default";
	pinctrl-0 = <&uart1m0_xfer &uart1m0_ctsn>;
};

/**************************3.0 otg***********************************/
&usbdrd30 { 
	status = "okay";
};

&usbdrd_dwc3 { 
	status = "okay";
};
/**************************3.0 host***********************************/
&usbhost30 {
	status = "okay";
};

&usbhost_dwc3 {
	status = "okay";
};

/**************************usbphy***********************************/
&usb2phy0 {
	status = "okay";
};

&u2phy0_otg {
	status = "okay";
};

&u2phy0_host {
	status = "okay";
};

&u2phy1_host {
	status = "okay";
};

&u2phy1_otg {
	status = "okay";
};

&usb2phy1 {
	status = "okay";
};

&usb_host0_ehci {
	status = "okay";
};

&usb_host0_ohci {
	status = "okay";
};

&usb_host1_ehci {
	status = "okay";
};

&usb_host1_ohci {
	status = "okay";
};

&combphy1_usq {
	status = "okay";
};


/*************************************************************/
&vdpu {
	status = "okay";
};

&vdpu_mmu {
	status = "okay";
};

&vepu {
	status = "okay";
};

&vepu_mmu {
	status = "okay";
};

&vop {
	status = "okay";
};

&vop_mmu {
	status = "okay";
};
